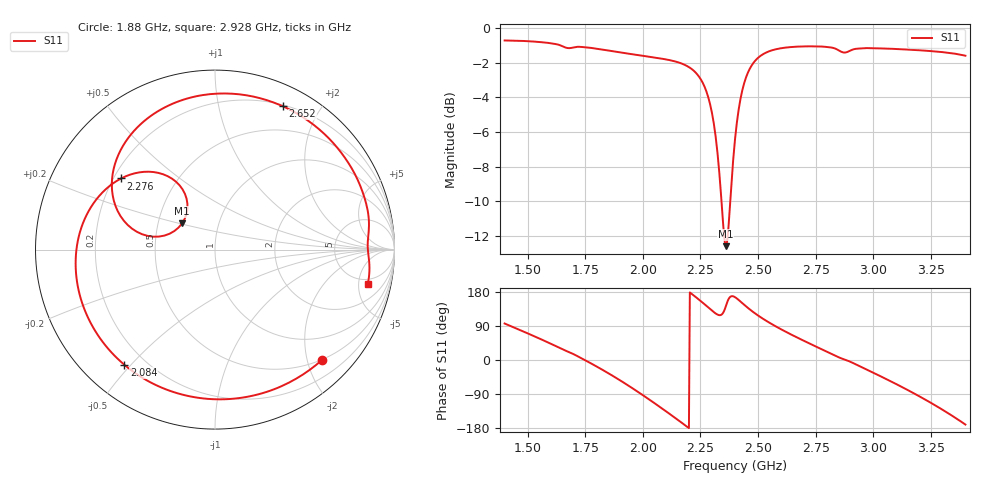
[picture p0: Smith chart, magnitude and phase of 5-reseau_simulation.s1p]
#  Hz  S  RI  R  50
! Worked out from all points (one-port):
!   501 points, 1.4 GHz to 3.4 GHz, reference 50 ohm
!   lowest |S11| = -12.6 dB at 2.36 GHz (marker M1), VSWR 1.61, Z = 33.2 + j10.3 ohm
!   |S11| at or under -10 dB: 2.341 GHz to 2.379 GHz (37.98 MHz wide, 1.61 % of centre)
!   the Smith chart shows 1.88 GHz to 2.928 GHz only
!   S11 on the Smith chart (normalised r, x): 1.88 GHz: 0.50, -2.28; 2.084 GHz: 0.12, -0.48; 2.276 GHz: 0.23, +0.32; 2.652 GHz: 0.21, +1.56; 2.928 GHz: 4.13, -6.56
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1.4e9  -0.1013 0.9167
1.524e9  0.4023 0.8226
1.652e9  0.7827 0.4171
1.772e9  0.8698 -0.1213
1.88e9  0.5974 -0.6135
1.9e9  0.5099 -0.6826
1.996e9  -0.0163 -0.8332
2.084e9  -0.5052 -0.6414
2.152e9  -0.7399 -0.2984
2.216e9  -0.7526 0.097
2.276e9  -0.523 0.3964
2.316e9  -0.2631 0.4088
2.34e9  -0.1585 0.2843
2.36e9  -0.1835 0.1458
2.38e9  -0.3128 0.0725
2.4e9  -0.4624 0.1168
2.448e9  -0.5648 0.4491
2.52e9  -0.279 0.7927
2.58e9  0.0348 0.8698
2.652e9  0.3776 0.7988
2.78e9  0.7873 0.4048
2.9e9  0.859 -0.0677
2.928e9  0.852 -0.1892
3.032e9  0.6402 -0.5964
3.152e9  0.1505 -0.8542
3.272e9  -0.4379 -0.736
3.344e9  -0.7154 -0.4524
3.4e9  -0.8214 -0.1396
